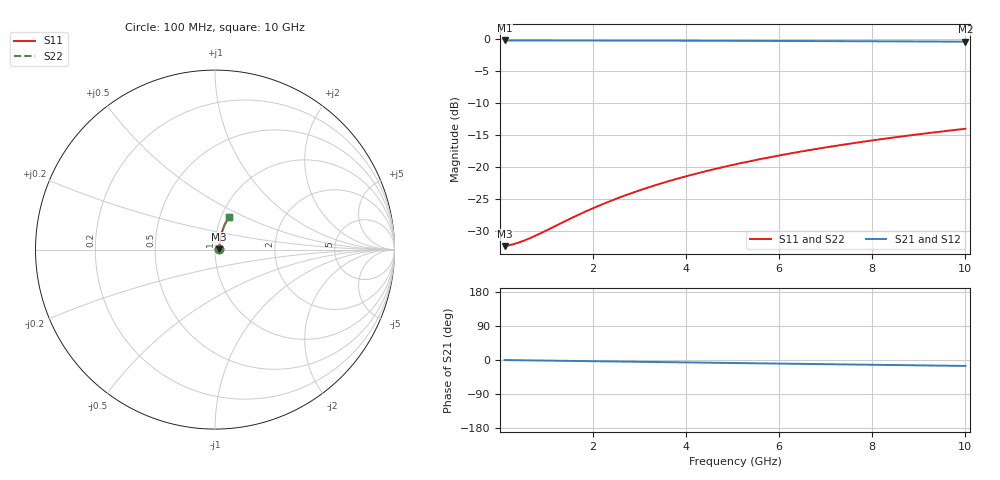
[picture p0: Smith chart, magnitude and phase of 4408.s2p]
# Hz S RI R 50.00
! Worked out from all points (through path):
!   100 points, 100 MHz to 10 GHz, reference 50 ohm
!   highest |S21| = -0.21 dB at 100 MHz (marker M1); lowest = -0.4 dB at 10 GHz (marker M2)
!   group delay of S21, straight-line fit = 4.35 ps
!   lowest |S11| = -32.4 dB at 100 MHz (marker M3), VSWR 1.05, Z = 52.4 + j0.205 ohm
!   |S11| at or under -10 dB: start of sweep to end of sweep
!   |S22| runs from -32.4 to -14.0 dB; largest |S21 - S12| = 0
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1e8  0.0238 0.00196  0.9762 -0.0027  0.9762 -0.0027  0.0238 0.00196
3e8  0.0241 0.00587  0.9758 -0.0081  0.9758 -0.0081  0.0241 0.00587
4e8  0.0243 0.00782  0.9757 -0.0108  0.9757 -0.0108  0.0243 0.00782
6e8  0.0245 0.0117  0.9755 -0.0162  0.9755 -0.0162  0.0245 0.0117
9e8  0.0249 0.0176  0.975 -0.0243  0.975 -0.0243  0.0249 0.0176
1.5e9  0.026 0.0292  0.974 -0.0404  0.974 -0.0404  0.026 0.0292
1.8e9  0.0266 0.0351  0.9733 -0.0485  0.9733 -0.0485  0.0266 0.0351
2.2e9  0.0276 0.0428  0.9723 -0.0592  0.9723 -0.0592  0.0276 0.0428
2.6e9  0.0287 0.0505  0.9711 -0.0699  0.9711 -0.0699  0.0287 0.0505
3e9  0.03 0.0582  0.9698 -0.0805  0.9698 -0.0805  0.03 0.0582
3.4e9  0.0314 0.0658  0.9682 -0.0911  0.9682 -0.0911  0.0314 0.0658
3.8e9  0.033 0.0734  0.9665 -0.1017  0.9665 -0.1017  0.033 0.0734
4.2e9  0.0348 0.081  0.9647 -0.1122  0.9647 -0.1122  0.0348 0.081
4.6e9  0.0367 0.0885  0.9626 -0.1227  0.9626 -0.1227  0.0367 0.0885
5.1e9  0.0394 0.0978  0.9599 -0.1358  0.9599 -0.1358  0.0394 0.0978
5.5e9  0.0417 0.1051  0.9575 -0.1461  0.9575 -0.1461  0.0417 0.1051
5.9e9  0.0441 0.1125  0.9549 -0.1564  0.9549 -0.1564  0.0441 0.1125
6.7e9  0.0494 0.1269  0.9493 -0.1768  0.9493 -0.1768  0.0494 0.1269
7.5e9  0.0554 0.141  0.943 -0.1969  0.943 -0.1969  0.0554 0.141
8.4e9  0.0627 0.1565  0.9352 -0.2191  0.9352 -0.2191  0.0627 0.1565
9.2e9  0.0699 0.1698  0.9277 -0.2385  0.9277 -0.2385  0.0699 0.1698
1e10  0.0776 0.1828  0.9196 -0.2575  0.9196 -0.2575  0.0776 0.1828
